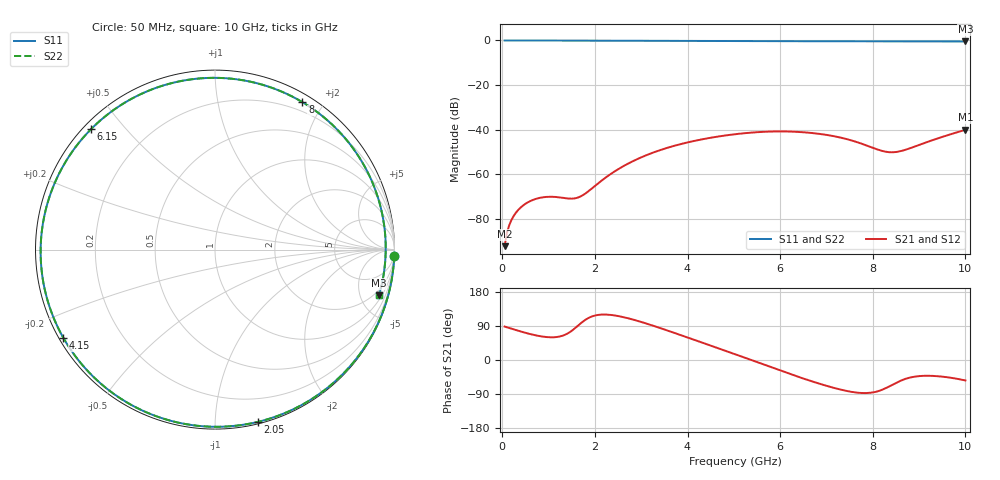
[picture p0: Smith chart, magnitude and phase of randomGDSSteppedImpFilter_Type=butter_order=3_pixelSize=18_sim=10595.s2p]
! freq	dB(S11)	phase(S11)	dB(S12)	phase(S12)
!  dB(S21)	phase(S21)	dB(S22)	phase(S22)
!S-par simulation data
#  GHz  S  DB  R 50
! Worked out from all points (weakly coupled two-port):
!   200 points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, 50 MHz to 10 GHz, reference 50 ohm
!   highest |S21| = -40.11 dB at 10 GHz (marker M1); lowest = -92.3 dB at 50 MHz (marker M2)
!   lowest |S11| = -0.5 dB at 10 GHz (marker M3), VSWR 37.65, Z = 69.4 - j351 ohm
!   |S11| at or under -10 dB: nowhere
!   |S22| runs from -0.5 to 0.0 dB; largest |S21 - S12| = 0
!   S11 on the Smith chart (normalised r, x): 50 MHz: 1, -60; 2.05 GHz: 0.01, -1.28; 4.15 GHz: 0.01, -0.27; 6.15 GHz: 0.02, +0.41; 8 GHz: 0.09, +1.75; 10 GHz: 1.39, -7.03
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0.05  -0.00 -1.9  -92.34 88.3  -92.34 88.3  -0.00 -1.9
0.2  -0.01 -7.6  -80.49 82.7  -80.49 82.7  -0.01 -7.6
0.45  -0.02 -17.1  -74.05 73.4  -74.05 73.4  -0.02 -17.1
0.75  -0.03 -28.4  -70.96 64.3  -70.96 64.3  -0.03 -28.4
1.05  -0.05 -39.6  -70.16 59.9  -70.16 59.9  -0.05 -39.6
1.55  -0.07 -58.0  -70.92 81.9  -70.92 81.9  -0.07 -58.0
1.75  -0.08 -65.2  -69.32 102.2  -69.32 102.2  -0.08 -65.2
2.05  -0.09 -76.0  -64.47 118.6  -64.47 118.6  -0.09 -76.0
2.65  -0.12 -97.3  -56.02 112.1  -56.02 112.1  -0.12 -97.3
3.4  -0.16 -123.5  -49.28 84.7  -49.28 84.7  -0.16 -123.5
4.15  -0.20 -149.7  -45.07 53.0  -45.07 53.0  -0.20 -149.7
4.6  -0.22 -165.7  -43.33 33.7  -43.33 33.7  -0.22 -165.7
5.05  -0.25 177.9  -42.03 14.2  -42.03 14.2  -0.25 177.9
5.6  -0.29 157.3  -41.05 -9.9  -41.05 -9.9  -0.29 157.3
6.15  -0.33 135.8  -40.86 -34.1  -40.86 -34.1  -0.33 135.8
6.7  -0.36 113.5  -41.57 -56.9  -41.57 -56.9  -0.36 113.6
7.35  -0.38 86.5  -43.82 -79.4  -43.82 -79.4  -0.38 86.5
8  -0.40 59.3  -48.19 -85.6  -48.19 -85.6  -0.40 59.4
8.35  -0.40 45.0  -50.14 -70.1  -50.14 -70.1  -0.40 45.0
8.65  -0.41 33.0  -49.42 -52.3  -49.42 -52.3  -0.41 33.1
9.15  -0.42 13.9  -45.77 -41.6  -45.77 -41.6  -0.42 13.9
10  -0.46 -15.6  -40.11 -54.0  -40.11 -54.0  -0.46 -15.6
